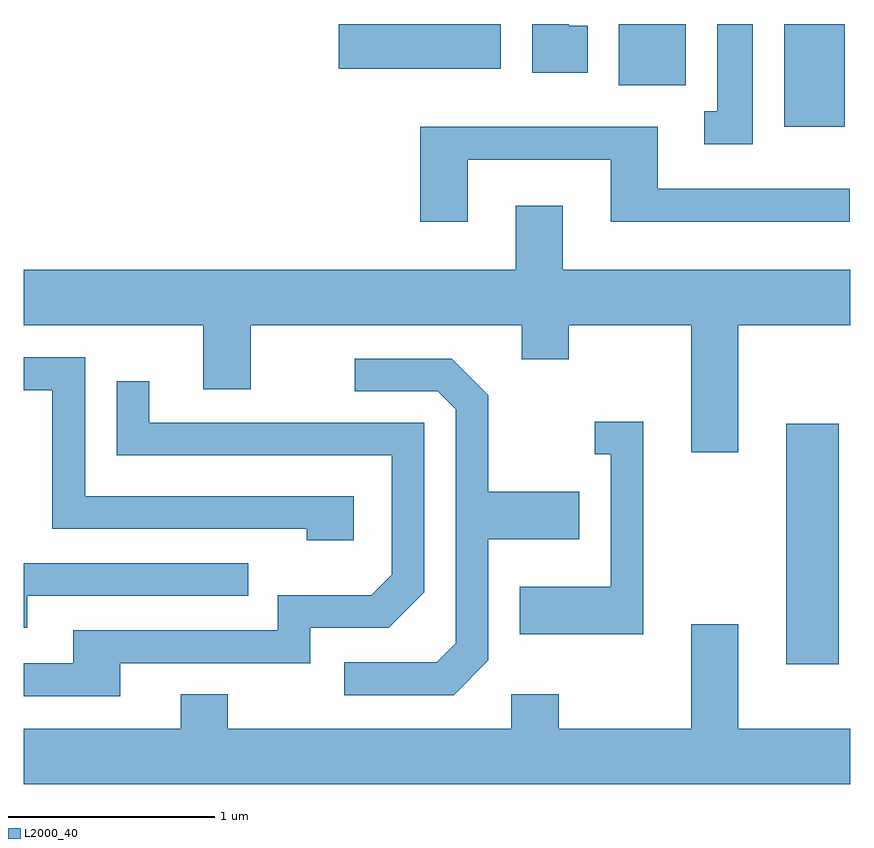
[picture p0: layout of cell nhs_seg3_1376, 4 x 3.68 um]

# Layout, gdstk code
import gdstk
lib = gdstk.Library(unit=1e-6, precision=1e-09)
def R(c, l, rs):  # rectangles x0, y0, x1, y1
    for r in rs: c.add(gdstk.rectangle(r[:2], r[2:], *l))
def P(c, l, *ps):  # polygons
    for p in ps: c.add(gdstk.Polygon(p, *l))
L2000_40 = (2000, 40)

nhs_seg3_1376 = lib.new_cell('nhs_seg3_1376')
R(nhs_seg3_1376, L2000_40, [(229.301,1148.796,229.554,1149.959), (229.291,1151.396,229.584,1151.892), (228.491,1151.596,228.814,1151.892), (227.136,1151.676,227.919,1151.892)])
P(nhs_seg3_1376, L2000_40, [(228.339,1151.884),(228.249,1151.884),(228.249,1151.892),(228.071,1151.892),(228.071,1151.656),(228.339,1151.656)],
  [(229.139,1151.892),(228.966,1151.892),(228.966,1151.469),(228.903,1151.469),(228.903,1151.311),(229.139,1151.311)],
  [(227.759,1151.236),(228.451,1151.236),(228.451,1150.936),(229.608,1150.936),(229.608,1151.094),(228.679,1151.094),(228.679,1151.394),(227.531,1151.394),(227.531,1150.936),(227.759,1150.936)],
  [(229.069,1150.436),(229.611,1150.436),(229.611,1150.704),(228.219,1150.704),(228.219,1151.014),(227.991,1151.014),(227.991,1150.704),(225.611,1150.704),(225.611,1150.436),(226.481,1150.436),(226.481,1150.126),(226.709,1150.126),(226.709,1150.436),(228.021,1150.436),(228.021,1150.271),(228.249,1150.271),(228.249,1150.436),(228.841,1150.436),(228.841,1149.821),(229.069,1149.821)],
  [(227.209,1149.609),(225.909,1149.609),(225.909,1150.279),(225.611,1150.279),(225.611,1150.121),(225.751,1150.121),(225.751,1149.451),(226.981,1149.451),(226.981,1149.396),(227.209,1149.396)],
  [(227.859,1148.814),(227.859,1149.401),(228.299,1149.401),(228.299,1149.629),(227.859,1149.629),(227.859,1150.097),(227.682,1150.274),(227.213,1150.274),(227.213,1150.116),(227.614,1150.116),(227.701,1150.029),(227.701,1148.897),(227.609,1148.804),(227.163,1148.804),(227.163,1148.646),(227.692,1148.646)],
  [(226.079,1148.801),(226.999,1148.801),(226.999,1148.971),(227.377,1148.971),(227.549,1149.144),(227.549,1149.964),(226.219,1149.964),(226.219,1150.163),(226.061,1150.163),(226.061,1149.806),(227.391,1149.806),(227.391,1149.227),(227.294,1149.129),(226.841,1149.129),(226.841,1148.959),(225.851,1148.959),(225.851,1148.799),(225.611,1148.799),(225.611,1148.641),(226.079,1148.641)],
  [(228.609,1149.969),(228.373,1149.969),(228.373,1149.811),(228.451,1149.811),(228.451,1149.169),(228.011,1149.169),(228.011,1148.941),(228.609,1148.941)],
  [(225.629,1149.126),(226.698,1149.126),(226.698,1149.284),(225.611,1149.284),(225.611,1148.971),(225.629,1148.971)],
  [(229.611,1148.484),(229.069,1148.484),(229.069,1148.989),(228.841,1148.989),(228.841,1148.484),(228.199,1148.484),(228.199,1148.649),(227.971,1148.649),(227.971,1148.484),(226.599,1148.484),(226.599,1148.649),(226.371,1148.649),(226.371,1148.484),(225.611,1148.484),(225.611,1148.216),(229.611,1148.216)])

lib.write_gds('nhs_seg3_1376.gds')
